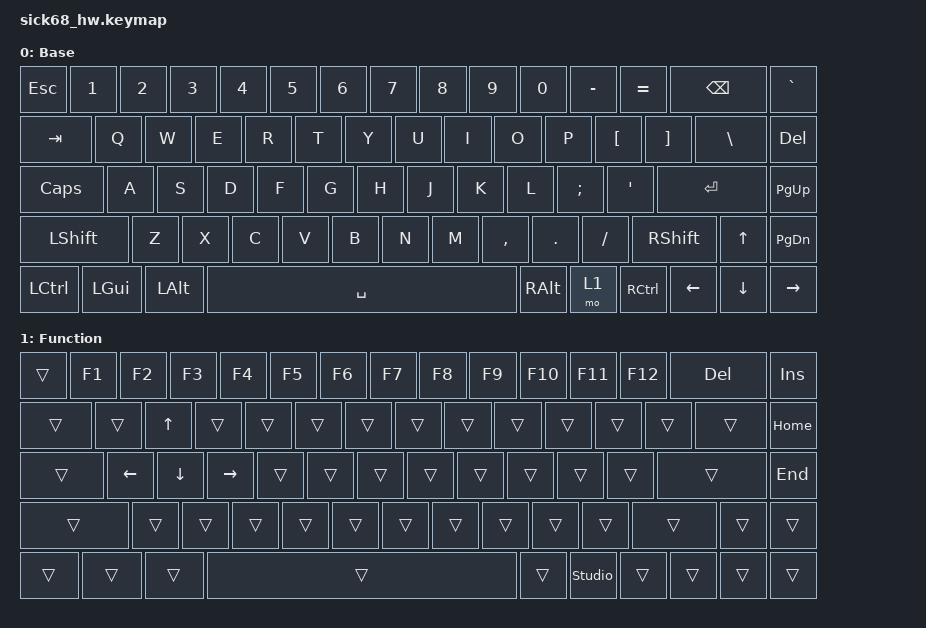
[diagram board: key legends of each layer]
/*
 * Copyright (c) 2020 The ZMK Contributors
 *
 * SPDX-License-Identifier: MIT
 */

#include <behaviors.dtsi>
#include <dt-bindings/zmk/keys.h>

/ {
    keymap {
        compatible = "zmk,keymap";

        default_layer {
            display-name = "Base";
            // 68 keys matching LAYOUT_65_ansi from QMK keyboard.json
            // Row 0: 15 keys (Esc, 1-0, -, =, Backspace, Grave)
            // Row 1: 15 keys (Tab, Q-P, [, ], \, Delete)
            // Row 2: 14 keys (Caps, A-L, ;, ', Enter, PgUp) - missing col 12
            // Row 3: 14 keys (LShift, Z-/, RShift, Up, PgDn) - missing col 1
            // Row 4: 10 keys (LCtrl, GUI, LAlt, Space, RAlt, Fn, RCtrl, Left, Down, Right)
            bindings = <
        &kp ESCAPE  &kp N1       &kp N2       &kp N3       &kp N4       &kp N5       &kp N6       &kp N7       &kp N8       &kp N9       &kp N0       &kp MINUS    &kp EQUAL    &kp BACKSPACE  &kp GRAVE
        &kp TAB     &kp Q        &kp W        &kp E        &kp R        &kp T        &kp Y        &kp U        &kp I        &kp O        &kp P        &kp LBKT     &kp RBKT     &kp BACKSLASH  &kp DELETE
        &kp CAPS    &kp A        &kp S        &kp D        &kp F        &kp G        &kp H        &kp J        &kp K        &kp L        &kp SEMI     &kp SQT                   &kp RET        &kp PG_UP
        &kp LSHIFT              &kp Z        &kp X        &kp C        &kp V        &kp B        &kp N        &kp M        &kp COMMA    &kp DOT      &kp FSLH     &kp RSHIFT   &kp UP         &kp PG_DN
        &kp LCTRL   &kp LGUI     &kp LALT                                           &kp SPACE                              &kp RALT     &mo 1        &kp RCTRL    &kp LEFT     &kp DOWN       &kp RIGHT
      >;
        };

        fn_layer {
            display-name = "Function";
            // 68 keys matching LAYOUT_65_ansi
            // FN key (row 4, col 10) maps to mo 1 for momentary activation
            bindings = <
        &trans      &kp F1       &kp F2       &kp F3       &kp F4       &kp F5       &kp F6       &kp F7       &kp F8       &kp F9       &kp F10      &kp F11      &kp F12      &kp DELETE     &kp INSERT
        &trans      &trans       &kp UP       &trans       &trans       &trans       &trans       &trans       &trans       &trans       &trans       &trans       &trans       &trans         &kp HOME
        &trans      &kp LEFT     &kp DOWN     &kp RIGHT    &trans       &trans       &trans       &trans       &trans       &trans       &trans       &trans                    &trans         &kp END
        &trans                   &trans       &trans       &trans       &trans       &trans       &trans       &trans       &trans       &trans       &trans       &trans       &trans         &trans
        &trans      &trans       &trans                                              &trans                                 &trans       &studio_unlock &trans       &trans       &trans         &trans
      >;
        };

        // Reserved layers for ZMK Studio expansion
        // Users can add up to 16 total layers; these are placeholders for future use via ZMK Studio
        reserved_layer_2 {
            status = "reserved";
        };

        reserved_layer_3 {
            status = "reserved";
        };

        reserved_layer_4 {
            status = "reserved";
        };

        reserved_layer_5 {
            status = "reserved";
        };
    };
};

